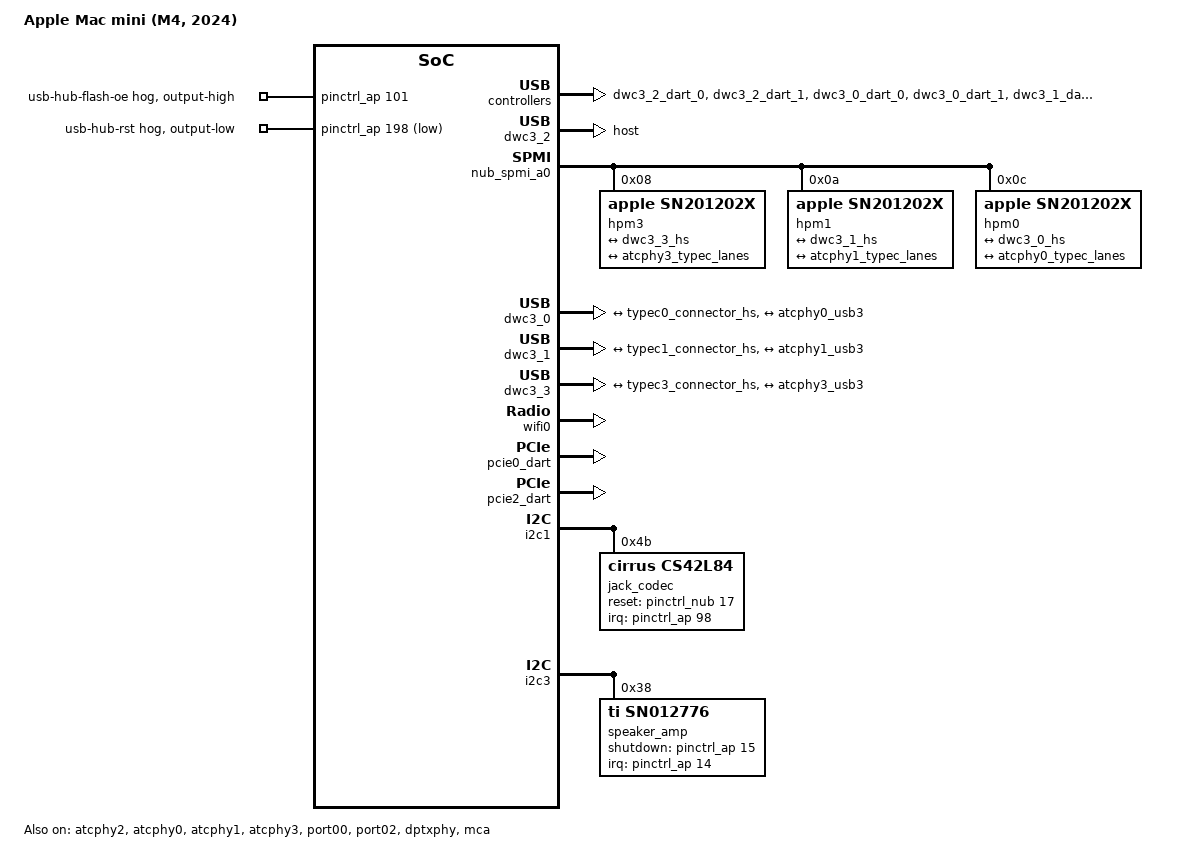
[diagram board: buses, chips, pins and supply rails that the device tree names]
// SPDX-License-Identifier: GPL-2.0+ OR MIT
/*
 * Apple Mac mini (M4, 2024)
 *
 * target-type: J773g
 *
 * Copyright The Asahi Linux Contributors
 */

/dts-v1/;

#include "t8132.dtsi"
#include "t8132-jxxx.dtsi"

/ {
	compatible = "apple,j773g", "apple,t8132", "apple,arm-platform";
	model = "Apple Mac mini (M4, 2024)";

	aliases {
		atcphy0 = &atcphy0;
		atcphy1 = &atcphy1;
		atcphy2 = &atcphy2;
		atcphy3 = &atcphy3;
		bluetooth0 = &bluetooth0;
		ethernet0 = &ethernet0;
		wifi0 = &wifi0;
	};
};

/*
 * The front USB-C ports hang off an onboard USB 3 hub on the third
 * controller, with no Type-C controller in between.
 */
&pinctrl_ap {
	/*
	 * iBoot leaves the hub in reset. It loads its firmware from a flash
	 * shared with spi3 when it leaves reset with the flash enabled.
	 */
	usb_hub_oe-hog {
		gpio-hog;
		gpios = <101 GPIO_ACTIVE_HIGH>;
		output-high;
		line-name = "usb-hub-flash-oe";
	};

	usb_hub_rst-hog {
		gpio-hog;
		gpios = <198 GPIO_ACTIVE_LOW>;
		output-low;
		line-name = "usb-hub-rst";
	};
};

&atcphy2 {
	apple,fixed-mode = "usb3";
	status = "okay";
};

&dwc3_2_dart_0 {
	status = "okay";
};

&dwc3_2_dart_1 {
	status = "okay";
};

&dwc3_2 {
	dr_mode = "host";
	/delete-property/ usb-role-switch;
	/delete-property/ role-switch-default-mode;
	status = "okay";
};

/*
 * The back USB-C ports: a Type-C controller on SPMI, a Type-C PHY and a
 * DWC3 each. USB only for now; Thunderbolt and DisplayPort need ACIO.
 */
&nub_spmi_a0 {
	status = "okay";

	hpm3: usb-pd@8 {
		compatible = "apple,sn201202x";
		reg = <0x8 SPMI_USID>;
		interrupts = <63 IRQ_TYPE_EDGE_RISING>,
			     <65 IRQ_TYPE_EDGE_RISING>,
			     <69 IRQ_TYPE_EDGE_RISING>,
			     <71 IRQ_TYPE_EDGE_RISING>;
		interrupt-names = "irq", "select", "sleep", "wake";

		typec3: connector {
			compatible = "usb-c-connector";
			label = "USB-C Back Right";
			power-role = "dual";
			data-role = "dual";

			ports {
				#address-cells = <1>;
				#size-cells = <0>;

				port@0 {
					reg = <0>;
					typec3_connector_hs: endpoint {
						remote-endpoint = <&dwc3_3_hs>;
					};
				};

				port@1 {
					reg = <1>;
					typec3_connector_ss: endpoint {
						remote-endpoint = <&atcphy3_typec_lanes>;
					};
				};
			};
		};
	};

	hpm1: usb-pd@a {
		compatible = "apple,sn201202x";
		reg = <0xa SPMI_USID>;
		interrupts = <37 IRQ_TYPE_EDGE_RISING>,
			     <39 IRQ_TYPE_EDGE_RISING>,
			     <43 IRQ_TYPE_EDGE_RISING>,
			     <45 IRQ_TYPE_EDGE_RISING>;
		interrupt-names = "irq", "select", "sleep", "wake";

		typec1: connector {
			compatible = "usb-c-connector";
			label = "USB-C Back Left";
			power-role = "dual";
			data-role = "dual";

			ports {
				#address-cells = <1>;
				#size-cells = <0>;

				port@0 {
					reg = <0>;
					typec1_connector_hs: endpoint {
						remote-endpoint = <&dwc3_1_hs>;
					};
				};

				port@1 {
					reg = <1>;
					typec1_connector_ss: endpoint {
						remote-endpoint = <&atcphy1_typec_lanes>;
					};
				};
			};
		};
	};

	hpm0: usb-pd@c {
		compatible = "apple,sn201202x";
		reg = <0xc SPMI_USID>;
		interrupts = <11 IRQ_TYPE_EDGE_RISING>,
			     <13 IRQ_TYPE_EDGE_RISING>,
			     <17 IRQ_TYPE_EDGE_RISING>,
			     <19 IRQ_TYPE_EDGE_RISING>;
		interrupt-names = "irq", "select", "sleep", "wake";

		typec0: connector {
			compatible = "usb-c-connector";
			label = "USB-C Back Middle";
			power-role = "dual";
			data-role = "dual";

			ports {
				#address-cells = <1>;
				#size-cells = <0>;

				port@0 {
					reg = <0>;
					typec0_connector_hs: endpoint {
						remote-endpoint = <&dwc3_0_hs>;
					};
				};

				port@1 {
					reg = <1>;
					typec0_connector_ss: endpoint {
						remote-endpoint = <&atcphy0_typec_lanes>;
					};
				};
			};
		};
	};
};

&atcphy0 {
	status = "okay";

	ports {
		#address-cells = <1>;
		#size-cells = <0>;

		port@0 {
			reg = <0>;
			atcphy0_typec_lanes: endpoint {
				remote-endpoint = <&typec0_connector_ss>;
			};
		};

		port@1 {
			reg = <1>;
			atcphy0_usb3: endpoint {
				remote-endpoint = <&dwc3_0_ss>;
			};
		};
	};
};

&dwc3_0_dart_0 {
	status = "okay";
};

&dwc3_0_dart_1 {
	status = "okay";
};

&dwc3_0 {
	status = "okay";

	ports {
		#address-cells = <1>;
		#size-cells = <0>;

		port@0 {
			reg = <0>;
			dwc3_0_hs: endpoint {
				remote-endpoint = <&typec0_connector_hs>;
			};
		};

		port@1 {
			reg = <1>;
			dwc3_0_ss: endpoint {
				remote-endpoint = <&atcphy0_usb3>;
			};
		};
	};
};

&atcphy1 {
	status = "okay";

	ports {
		#address-cells = <1>;
		#size-cells = <0>;

		port@0 {
			reg = <0>;
			atcphy1_typec_lanes: endpoint {
				remote-endpoint = <&typec1_connector_ss>;
			};
		};

		port@1 {
			reg = <1>;
			atcphy1_usb3: endpoint {
				remote-endpoint = <&dwc3_1_ss>;
			};
		};
	};
};

&dwc3_1_dart_0 {
	status = "okay";
};

&dwc3_1_dart_1 {
	status = "okay";
};

&dwc3_1 {
	status = "okay";

	ports {
		#address-cells = <1>;
		#size-cells = <0>;

		port@0 {
			reg = <0>;
			dwc3_1_hs: endpoint {
				remote-endpoint = <&typec1_connector_hs>;
			};
		};

		port@1 {
			reg = <1>;
			dwc3_1_ss: endpoint {
				remote-endpoint = <&atcphy1_usb3>;
			};
		};
	};
};

&atcphy3 {
	status = "okay";

	ports {
		#address-cells = <1>;
		#size-cells = <0>;

		port@0 {
			reg = <0>;
			atcphy3_typec_lanes: endpoint {
				remote-endpoint = <&typec3_connector_ss>;
			};
		};

		port@1 {
			reg = <1>;
			atcphy3_usb3: endpoint {
				remote-endpoint = <&dwc3_3_ss>;
			};
		};
	};
};

&dwc3_3_dart_0 {
	status = "okay";
};

&dwc3_3_dart_1 {
	status = "okay";
};

&dwc3_3 {
	status = "okay";

	ports {
		#address-cells = <1>;
		#size-cells = <0>;

		port@0 {
			reg = <0>;
			dwc3_3_hs: endpoint {
				remote-endpoint = <&typec3_connector_hs>;
			};
		};

		port@1 {
			reg = <1>;
			dwc3_3_ss: endpoint {
				remote-endpoint = <&atcphy3_usb3>;
			};
		};
	};
};

&port00 {
	/* WLAN/BT, BCM4388 */
	bus-range = <1 1>;
	pwren-gpios = <&smc_gpio 19 GPIO_ACTIVE_HIGH>;
	status = "okay";

	wifi0: wifi@0,0 {
		compatible = "pci14e4,4434";
		reg = <0x10000 0x0 0x0 0x0 0x0>;
		/* To be filled by the loader */
		local-mac-address = [00 00 00 00 00 00];
		apple,antenna-sku = "XX";
		brcm,board-type = "apple,sakhalin";
	};

	bluetooth0: bluetooth@0,1 {
		compatible = "pci14e4,5f72";
		reg = <0x10100 0x0 0x0 0x0 0x0>;
		/* To be filled by the loader */
		local-bd-address = [00 00 00 00 00 00];
		brcm,board-type = "apple,sakhalin";
	};
};

&pcie0_dart {
	status = "okay";
};

&port02 {
	/* 1 Gbit Ethernet, BCM57762 */
	status = "okay";

	ethernet0: ethernet@0,0 {
		reg = <0x20000 0x0 0x0 0x0 0x0>;
		/* To be filled by the loader */
		local-mac-address = [00 10 18 00 00 00];
	};
};

&pcie2_dart {
	status = "okay";
};

&dptxphy {
	status = "okay";
};

&dcp {
	apple,connector-type = "HDMI-A";
	hdmi-hpd-gpios = <&pinctrl_aop 41 GPIO_ACTIVE_HIGH>;
	phys = <&dptxphy>;
	phy-names = "dp-phy";
	apple,dptx-phy = <4>;
};

/*
 * Keep the power-domains used for the HDMI port on.
 */
&framebuffer0 {
	power-domains = <&ps_disp_cpu>, <&ps_dptx_phy>;
};

#include "hwmon-common.dtsi"
#include "hwmon-mini.dtsi"

&smc_hwmon {
	temperature-TCMz {
		apple,key-id = "TCMz";
		label = "CPU Max Temperature";
	};
};

&admac {
	status = "okay";
};

&i2c1 {
	status = "okay";

	jack_codec: codec@4b {
		compatible = "cirrus,cs42l84";
		reg = <0x4b>;
		reset-gpios = <&pinctrl_nub 17 GPIO_ACTIVE_HIGH>;
		interrupt-parent = <&pinctrl_ap>;
		interrupts = <98 IRQ_TYPE_LEVEL_LOW>;
		#sound-dai-cells = <0>;
		cirrus,ts-inv = <1>;
		sound-name-prefix = "Jack";
	};
};

&i2c3 {
	status = "okay";

	speaker_amp: codec@38 {
		compatible = "ti,sn012776", "ti,tas2764";
		reg = <0x38>;
		shutdown-gpios = <&pinctrl_ap 15 GPIO_ACTIVE_HIGH>;
		interrupt-parent = <&pinctrl_ap>;
		interrupts = <14 IRQ_TYPE_LEVEL_LOW>;
		#sound-dai-cells = <0>;
		ti,imon-slot-no = <0>;
		ti,vmon-slot-no = <2>;
	};
};

&mca {
	status = "okay";
};

/ {
	sound {
		compatible = "apple,j773g-macaudio", "apple,macaudio";
		model = "Mac mini J773g";

		dai-link@0 {
			link-name = "Speaker";

			cpu {
				sound-dai = <&mca 0>;
			};
			codec {
				sound-dai = <&speaker_amp>;
			};
		};

		dai-link@1 {
			link-name = "Headphone Jack";

			cpu {
				sound-dai = <&mca 2>;
			};
			codec {
				sound-dai = <&jack_codec>;
			};
		};
	};
};

